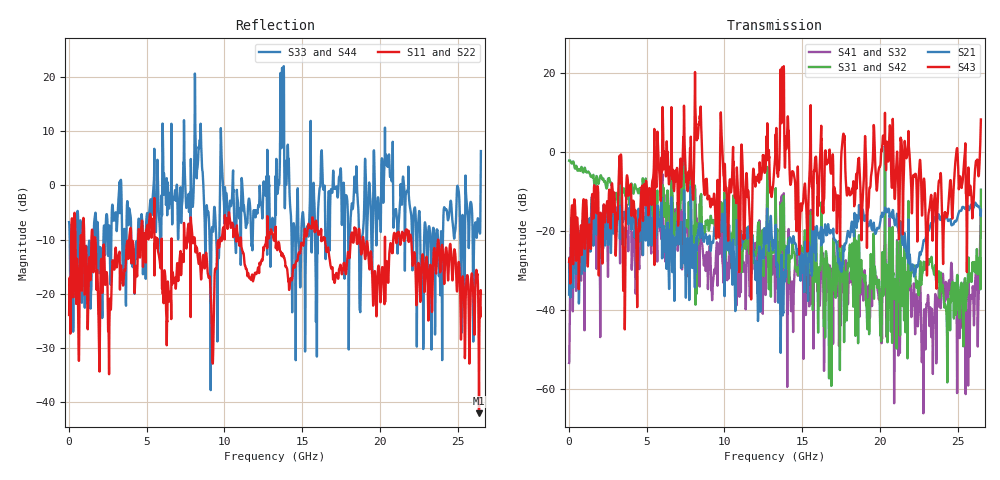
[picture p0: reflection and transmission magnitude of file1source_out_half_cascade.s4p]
! Created with skrf (http://scikit-rf.org).
# Hz S MA R 50.0
!freq magS11 angS11 magS12 angS12 magS13 angS13
! magS14 angS14
! magS21 angS21 magS22 angS22 magS23 angS23
! magS24 angS24
! magS31 angS31 magS32 angS32 magS33 angS33
! magS34 angS34
! magS41 angS41 magS42 angS42 magS43 angS43
! magS44 angS44
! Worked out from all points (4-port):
!   2650 points, 10 MHz to 26.5 GHz, reference 50 ohm
!   strongest paths, dB at 10 MHz, 6.63 GHz, 13.26 GHz, 19.88 GHz, 26.5 GHz:
!     S43: -27.7, -4.6, -1.7, -5.8, 8.3
!     S21: -36.1, -27.3, -23.6, -19.2, -15.0
!     S31: -2.1, -9.1, -21.4, -33.8, -9.5
!     S42: -2.1, -9.1, -21.4, -33.8, -9.5
!     S41: -53.3, -19.7, -37.9, -35.6, -14.5
!     S32: -53.3, -19.7, -37.9, -35.6, -14.5
!   lowest |S11| = -42.1 dB at 26.38 GHz (marker M1), VSWR 1.02, Z = 49.2 - j0.169 ohm
!   |S11| at or under -10 dB: 1.704 GHz to 3.87 GHz (2.166 GHz wide, 77.7 % of centre); 13.31 GHz to 15.12 GHz (1.814 GHz wide, 12.8 % of centre); 23.76 GHz to end of sweep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
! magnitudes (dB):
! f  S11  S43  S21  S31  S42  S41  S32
! 10 MHz  -23.9  -27.7  -36.1  -2.1  -2.1  -53.3  -53.3
! 2.81 GHz  -13.8  -9.9  -14.2  -9.8  -9.8  -15.8  -15.8
! 11.67 GHz  -17.1  -20.2  -21.7  -23.0  -23.0  -34.0  -34.0
! 13.69 GHz  -12.8  11.7  -28.5  -15.5  -15.5  -11.9  -11.9
! 14.9 GHz  -12.0  -14.1  -32.5  -24.0  -24.0  -28.1  -28.1
! 26.38 GHz  -42.1  -5.2  -13.7  -28.6  -28.6  -33.9  -33.9
! 26.5 GHz  -20.0  8.3  -15.0  -9.5  -9.5  -14.5  -14.5
